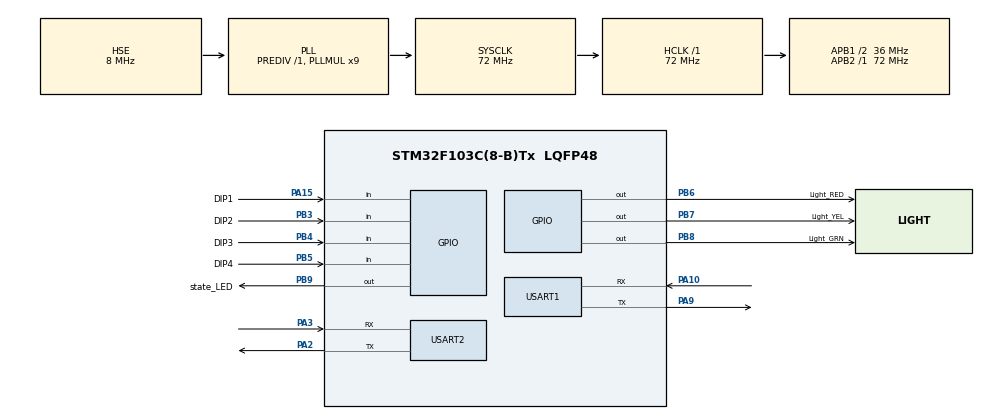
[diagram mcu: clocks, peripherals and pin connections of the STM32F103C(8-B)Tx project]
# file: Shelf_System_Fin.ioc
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FREERTOS.Tasks01=TaskStateLED,-3,128,StartTaskStateLED,Default,NULL,Dynamic,NULL,NULL;TaskInit,2,512,StartTaskInit,Default,NULL,Dynamic,NULL,NULL;TaskWiFi,0,1024,StartTaskWiFi,Default,NULL,Dynamic,NULL,NULL;TaskLightSingal,-2,512,StartTaskLightSingal,Default,NULL,Dynamic,NULL,NULL;TaskIPS,1,1024,StartTaskIPS,Default,NULL,Dynamic,NULL,NULL
FREERTOS.configTOTAL_HEAP_SIZE=15408
Mcu.Family=STM32F1
Mcu.Name=STM32F103C(8-B)Tx
Mcu.Package=LQFP48
NVIC.PriorityGroup=NVIC_PRIORITYGROUP_4
NVIC.TIM1_UP_IRQn=true\:15\:0\:false\:false\:true\:false\:false\:true\:true
NVIC.TimeBase=TIM1_UP_IRQn
NVIC.TimeBaseIP=TIM1
NVIC.USART1_IRQn=true\:5\:0\:false\:false\:true\:true\:true\:true\:true
NVIC.USART2_IRQn=true\:5\:0\:false\:false\:true\:true\:true\:true\:true
PA10.Mode=Asynchronous
PA10.Signal=USART1_RX
PA13.Mode=Serial_Wire
PA13.Signal=SYS_JTMS-SWDIO
PA14.Mode=Serial_Wire
PA14.Signal=SYS_JTCK-SWCLK
PA15.GPIO_Label=DIP1
PA15.Signal=GPIO_Input
PA2.Mode=Asynchronous
PA2.Signal=USART2_TX
PA3.Mode=Asynchronous
PA3.Signal=USART2_RX
PA9.Mode=Asynchronous
PA9.Signal=USART1_TX
PB3.GPIO_Label=DIP2
PB3.Signal=GPIO_Input
PB4.GPIO_Label=DIP3
PB4.Signal=GPIO_Input
PB5.GPIO_Label=DIP4
PB5.Signal=GPIO_Input
PB6.GPIO_Label=Light_RED
PB6.Signal=GPIO_Output
PB7.GPIO_Label=Light_YEL
PB7.Signal=GPIO_Output
PB8.GPIO_Label=Light_GRN
PB8.Signal=GPIO_Output
PB9.GPIO_Label=state_LED
PB9.Signal=GPIO_Output
PC14-OSC32_IN.Mode=LSE-External-Oscillator
PC14-OSC32_IN.Signal=RCC_OSC32_IN
PC15-OSC32_OUT.Mode=LSE-External-Oscillator
PC15-OSC32_OUT.Signal=RCC_OSC32_OUT
PD0-OSC_IN.Mode=HSE-External-Oscillator
PD0-OSC_IN.Signal=RCC_OSC_IN
PD1-OSC_OUT.Mode=HSE-External-Oscillator
PD1-OSC_OUT.Signal=RCC_OSC_OUT
ProjectManager.HeapSize=0x200
ProjectManager.StackSize=0x400
ProjectManager.TargetToolchain=MDK-ARM V5
RCC.AHBFreq_Value=72000000
RCC.APB1CLKDivider=RCC_HCLK_DIV2
RCC.APB1Freq_Value=36000000
RCC.APB1TimFreq_Value=72000000
RCC.APB2Freq_Value=72000000
RCC.APB2TimFreq_Value=72000000
RCC.HCLKFreq_Value=72000000
RCC.PLLMUL=RCC_PLL_MUL9
RCC.PLLSourceVirtual=RCC_PLLSOURCE_HSE
RCC.SYSCLKFreq_VALUE=72000000
RCC.SYSCLKSource=RCC_SYSCLKSOURCE_PLLCLK
RCC.USBFreq_Value=72000000
USART1.VirtualMode=VM_ASYNC
USART2.VirtualMode=VM_ASYNC
VP_FREERTOS_VS_CMSIS_V1.Mode=CMSIS_V1
VP_SYS_VS_tim1.Mode=TIM1
board=custom

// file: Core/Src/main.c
/* USER CODE BEGIN Header */
/**
  ******************************************************************************
  * @file           : main.c
  * @brief          : Main program body
  ******************************************************************************
  * @attention
  *
  * Copyright (c) 2024 STMicroelectronics.
  * All rights reserved.
  *
  * This software is licensed under terms that can be found in the LICENSE file
  * in the root directory of this software component.
  * If no LICENSE file comes with this software, it is provided AS-IS.
  *
  ******************************************************************************
  */
/* USER CODE END Header */
#include "main.h"
#include "cmsis_os.h"
#include "usart.h"
#include "gpio.h"

void SystemClock_Config(void);
void MX_FREERTOS_Init(void);

int main(void)
{

  /* MCU Configuration--------------------------------------------------------*/

  /* Reset of all peripherals, Initializes the Flash interface and the Systick. */
  HAL_Init();

  /* Configure the system clock */
  SystemClock_Config();

  /* Initialize all configured peripherals */
  MX_GPIO_Init();
  MX_USART1_UART_Init();
  MX_USART2_UART_Init();

  /* Call init function for freertos objects (in freertos.c) */
  MX_FREERTOS_Init();

  /* Start scheduler */
  osKernelStart();
  /* We should never get here as control is now taken by the scheduler */
  /* Infinite loop */
  while (1)
  {

  }
}

void SystemClock_Config(void)
{
  RCC_OscInitTypeDef RCC_OscInitStruct = {0};
  RCC_ClkInitTypeDef RCC_ClkInitStruct = {0};

  /** Initializes the RCC Oscillators according to the specified parameters
  * in the RCC_OscInitTypeDef structure.
  */
  RCC_OscInitStruct.OscillatorType = RCC_OSCILLATORTYPE_HSE;
  RCC_OscInitStruct.HSEState = RCC_HSE_ON;
  RCC_OscInitStruct.HSEPredivValue = RCC_HSE_PREDIV_DIV1;
  RCC_OscInitStruct.HSIState = RCC_HSI_ON;
  RCC_OscInitStruct.PLL.PLLState = RCC_PLL_ON;
  RCC_OscInitStruct.PLL.PLLSource = RCC_PLLSOURCE_HSE;
  RCC_OscInitStruct.PLL.PLLMUL = RCC_PLL_MUL9;
  if (HAL_RCC_OscConfig(&RCC_OscInitStruct) != HAL_OK)
  {
    Error_Handler();
  }

  /** Initializes the CPU, AHB and APB buses clocks
  */
  RCC_ClkInitStruct.ClockType = RCC_CLOCKTYPE_HCLK|RCC_CLOCKTYPE_SYSCLK
                              |RCC_CLOCKTYPE_PCLK1|RCC_CLOCKTYPE_PCLK2;
  RCC_ClkInitStruct.SYSCLKSource = RCC_SYSCLKSOURCE_PLLCLK;
  RCC_ClkInitStruct.AHBCLKDivider = RCC_SYSCLK_DIV1;
  RCC_ClkInitStruct.APB1CLKDivider = RCC_HCLK_DIV2;
  RCC_ClkInitStruct.APB2CLKDivider = RCC_HCLK_DIV1;

  if (HAL_RCC_ClockConfig(&RCC_ClkInitStruct, FLASH_LATENCY_2) != HAL_OK)
  {
    Error_Handler();
  }
}

void HAL_TIM_PeriodElapsedCallback(TIM_HandleTypeDef *htim)
{
  if (htim->Instance == TIM1) {
    HAL_IncTick();
  }
}

void Error_Handler(void)
{
  __disable_irq();
  while (1)
  {
  }
}

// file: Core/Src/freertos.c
/* USER CODE BEGIN Header */
/**
  ******************************************************************************
  * File Name          : freertos.c
  * Description        : Code for freertos applications
  ******************************************************************************
  * @attention
  *
  * Copyright (c) 2024 STMicroelectronics.
  * All rights reserved.
  *
  * This software is licensed under terms that can be found in the LICENSE file
  * in the root directory of this software component.
  * If no LICENSE file comes with this software, it is provided AS-IS.
  *
  ******************************************************************************
  */
/* USER CODE END Header */

#include "FreeRTOS.h"
#include "task.h"
#include "main.h"
#include "cmsis_os.h"

/* USER CODE BEGIN Includes */
#include "main.h"
#include <stdio.h>
#include <stdlib.h>
#include "usart.h"
#include "gpio.h"
#include "string.h"

/* USER CODE END Includes */

/* USER CODE BEGIN Variables */

/*------------------------------------------------------------------------------
UART1 : ESP-12s

		ESP-12s SET :
			Baud -> 115200
			Wi-Fi mode -> station mode
			IP mode -> DHCP
			Server IP -> 140.130.4.49:8764 (gjt)
								-> 192.168.1.31:8124 (jian)

UART2 : Barcode

		Barcode SET :
			Baud -> 115200

------------------------------------------------------------------------------*/

uint8_t data1;
uint8_t buffer1[128];
int data_len1 = 0;

char ESP_Temp[128] = "\0";
int ESP_LEN = 0;

/*==========Wi-Fi setting==========*/
char *ESP12_SetIPR = "AT+IPR=115200\r\n";
char *ESP12_CloseTCP = "AT+CIPCLOSE\r\n";
char *ESP12_CloseWiFi = "AT+CWQAP\r\n";
char *ESP12_WiFiMode = "AT+CWMODE=1\r\n";
char *ESP12_Connected = "AT+CWJAP=\"usb_lab_2.4G\",\"usblabwifi\"\r\n";
char *ESP12_Maskset = "AT+CIPSTA=\"192.168.1.22\",\"192.168.1.1\",\"255.255.255.0\"\r\n";
char *ESP12_DHCPSet = "AT+CWDHCP=1,1\r\n";
char *ESP12_TCPConnect = "AT+CIPSTART=\"TCP\",\"192.168.1.27\",8764\r\n";
char *ESP12_TransimitMode = "AT+CIPMODE=0\r\n";

char *ESP12_Transimit_first_connect = "AT+CIPSEND=9\r\n";
char *ESP12_Transimit_first_data = "02L";

char ESP12_marge_data[256];

/*------------------ Message for communication ------------------*/
char message_Start[5] = "03L:";
char message_Center[20];
char message_End[1] = "-";

char message_CRLF[2] = "\r\n";
int Shelf_light_flag = 0;

/*==========DIP SW setting==========*/
char DIP_message[7];

int DIP_Pin_state1 = 0;
int DIP_Pin_state2 = 0;
int DIP_Pin_state3 = 0;
int DIP_Pin_state4 = 0;

/* USER CODE END Variables */
osThreadId TaskStateLEDHandle;
osThreadId TaskInitHandle;
osThreadId TaskWiFiHandle;
osThreadId TaskLightSingalHandle;
osThreadId TaskIPSHandle;

/* USER CODE BEGIN FunctionPrototypes */
void DIP_read(void);

/* USER CODE END FunctionPrototypes */

void StartTaskStateLED(void const * argument);
void StartTaskInit(void const * argument);
void StartTaskWiFi(void const * argument);
void StartTaskLightSingal(void const * argument);
void StartTaskIPS(void const * argument);

void MX_FREERTOS_Init(void); /* (MISRA C 2004 rule 8.1) */

/* GetIdleTaskMemory prototype (linked to static allocation support) */
void vApplicationGetIdleTaskMemory( StaticTask_t **ppxIdleTaskTCBBuffer, StackType_t **ppxIdleTaskStackBuffer, uint32_t *pulIdleTaskStackSize );

/* USER CODE BEGIN GET_IDLE_TASK_MEMORY */
static StaticTask_t xIdleTaskTCBBuffer;
static StackType_t xIdleStack[configMINIMAL_STACK_SIZE];

void vApplicationGetIdleTaskMemory( StaticTask_t **ppxIdleTaskTCBBuffer, StackType_t **ppxIdleTaskStackBuffer, uint32_t *pulIdleTaskStackSize )
{
  *ppxIdleTaskTCBBuffer = &xIdleTaskTCBBuffer;
  *ppxIdleTaskStackBuffer = &xIdleStack[0];
  *pulIdleTaskStackSize = configMINIMAL_STACK_SIZE;
  /* place for user code */
}
/* USER CODE END GET_IDLE_TASK_MEMORY */

void MX_FREERTOS_Init(void) {

  /* Create the thread(s) */
  /* definition and creation of TaskStateLED */
  osThreadDef(TaskStateLED, StartTaskStateLED, osPriorityIdle, 0, 128);
  TaskStateLEDHandle = osThreadCreate(osThread(TaskStateLED), NULL);

  /* definition and creation of TaskInit */
  osThreadDef(TaskInit, StartTaskInit, osPriorityHigh, 0, 512);
  TaskInitHandle = osThreadCreate(osThread(TaskInit), NULL);

  /* definition and creation of TaskWiFi */
  osThreadDef(TaskWiFi, StartTaskWiFi, osPriorityNormal, 0, 1024);
  TaskWiFiHandle = osThreadCreate(osThread(TaskWiFi), NULL);

  /* definition and creation of TaskLightSingal */
  osThreadDef(TaskLightSingal, StartTaskLightSingal, osPriorityLow, 0, 512);
  TaskLightSingalHandle = osThreadCreate(osThread(TaskLightSingal), NULL);

  /* definition and creation of TaskIPS */
  osThreadDef(TaskIPS, StartTaskIPS, osPriorityAboveNormal, 0, 1024);
  TaskIPSHandle = osThreadCreate(osThread(TaskIPS), NULL);

  /* USER CODE BEGIN RTOS_THREADS */
  /* add threads, ... */
	vTaskSuspend(TaskWiFiHandle);
	vTaskSuspend(TaskIPSHandle);

  /* USER CODE END RTOS_THREADS */

}

void StartTaskStateLED(void const * argument)
{
  /* USER CODE BEGIN StartTaskStateLED */
  /* Infinite loop */
  for(;;)
  {
		HAL_GPIO_WritePin(state_LED_GPIO_Port, state_LED_Pin, GPIO_PIN_SET);
		osDelay(300);
		HAL_GPIO_WritePin(state_LED_GPIO_Port, state_LED_Pin, GPIO_PIN_RESET);
		osDelay(300);

  }
  /* USER CODE END StartTaskStateLED */
}

void StartTaskInit(void const * argument)
{
  /* USER CODE BEGIN StartTaskInit */
	DIP_read();

	HAL_UART_Transmit_IT(&huart1,(uint8_t*)ESP12_SetIPR,strlen(ESP12_SetIPR));
	osDelay(500);

	HAL_UART_Transmit_IT(&huart1,(uint8_t*)ESP12_CloseTCP,strlen(ESP12_CloseTCP));
	osDelay(500);

	HAL_UART_Transmit_IT(&huart1,(uint8_t*)ESP12_CloseWiFi,strlen(ESP12_CloseWiFi));
	osDelay(500);

	HAL_UART_Transmit_IT(&huart1,(uint8_t*)ESP12_WiFiMode,strlen(ESP12_WiFiMode));
	osDelay(500);

	HAL_UART_Transmit_IT(&huart1,(uint8_t*)ESP12_Connected,strlen(ESP12_Connected));
	osDelay(3000);

	HAL_UART_Transmit_IT(&huart1,(uint8_t*)ESP12_DHCPSet,strlen(ESP12_DHCPSet));
	osDelay(500);

	HAL_UART_Transmit_IT(&huart1,(uint8_t*)ESP12_TCPConnect,strlen(ESP12_TCPConnect));
	osDelay(3500);

	HAL_UART_Transmit_IT(&huart1,(uint8_t*)ESP12_TransimitMode,strlen(ESP12_TransimitMode));
	osDelay(500);

	HAL_UART_Transmit_IT(&huart1,(uint8_t*)ESP12_Transimit_first_connect,strlen(ESP12_Transimit_first_connect));
	osDelay(500);

	HAL_UART_Transmit_IT(&huart1, (uint8_t*)ESP12_Transimit_first_data, strlen(ESP12_Transimit_first_data));
	osDelay(100);

	HAL_UART_Transmit_IT(&huart1, (uint8_t*)DIP_message, strlen(DIP_message));
	osDelay(100);

	HAL_UART_Transmit_IT(&huart1, (uint8_t*)message_End, strlen(message_End));
	osDelay(100);

	HAL_UART_Receive_IT(&huart1, &data1, 1);

	vTaskDelete(NULL); // Remove hole Task!!

  /* Infinite loop */
  for(;;)
  {
    osDelay(1);
  }
  /* USER CODE END StartTaskInit */
}

void StartTaskWiFi(void const * argument)
{
  /* USER CODE BEGIN StartTaskWiFi */
  /* Infinite loop */
  for(;;)
  {
//		HAL_UART_Transmit_IT(&huart2, (uint8_t*)ESP_Temp, ESP_LEN);
//		osDelay(300);

		int count1 = 0, count2 = 0, mes_length = 0;

		char message[20] = "\0";

		if(strstr(ESP_Temp, "IPD"))
		{
			while(1) // find first $
			{
				if(ESP_Temp[count1++] == '$') break;
			}

			while(1) // find END
			{
				if(ESP_Temp[count2++] == '-') break;
			}

			for(int i = count1; i < count2 - 1; i++)
			{
					message[mes_length++] = ESP_Temp[i];
			}

			if(strstr(message, "REDON"))
			{
				HAL_UART_Transmit_IT(&huart2, (uint8_t*)"REDON", 5);
				osDelay(100);

				Shelf_light_flag = 1;
			}
			else if(strstr(message, "REDOF"))
			{
				HAL_UART_Transmit_IT(&huart2, (uint8_t*)"REDOF", 5);
				osDelay(100);

				Shelf_light_flag = 2;
			}
			else if(strstr(message, "YELON"))
			{
				HAL_UART_Transmit_IT(&huart2, (uint8_t*)"YELON", 5);
				osDelay(100);

				Shelf_light_flag = 3;
			}
			else if(strstr(message, "YELOF"))
			{
				HAL_UART_Transmit_IT(&huart2, (uint8_t*)"YELOF", 5);
				osDelay(100);

				Shelf_light_flag = 4;
			}
			else if(strstr(message, "GRNON"))
			{
				HAL_UART_Transmit_IT(&huart2, (uint8_t*)"GRNON", 5);
				osDelay(100);

				Shelf_light_flag = 5;
			}
			else if(strstr(message, "GRNOF"))
			{
				HAL_UART_Transmit_IT(&huart2, (uint8_t*)"GRNOF", 5);
				osDelay(100);

				Shelf_light_flag = 6;
			}
		}

		memset(ESP_Temp, '\0', ESP_LEN);
		ESP_LEN = 0;

		vTaskSuspend(TaskWiFiHandle);
  }
  /* USER CODE END StartTaskWiFi */
}

void StartTaskLightSingal(void const * argument)
{
  /* USER CODE BEGIN StartTaskLightSingal */
  /* Infinite loop */
  for(;;)
  {
		osDelay(200);

    switch(Shelf_light_flag)
		{
			case 1:
				HAL_GPIO_WritePin(Light_RED_GPIO_Port, Light_RED_Pin, GPIO_PIN_SET);
				break;

			case 2:
				HAL_GPIO_WritePin(Light_RED_GPIO_Port, Light_RED_Pin, GPIO_PIN_RESET);
				break;

			case 3:
				HAL_GPIO_WritePin(Light_YEL_GPIO_Port, Light_YEL_Pin, GPIO_PIN_SET);
				break;

			case 4:
				HAL_GPIO_WritePin(Light_YEL_GPIO_Port, Light_YEL_Pin, GPIO_PIN_RESET);
				break;

			case 5:
				HAL_GPIO_WritePin(Light_GRN_GPIO_Port, Light_GRN_Pin, GPIO_PIN_SET);
				break;

			case 6:
				HAL_GPIO_WritePin(Light_GRN_GPIO_Port, Light_GRN_Pin, GPIO_PIN_RESET);
				break;

		}
  }
  /* USER CODE END StartTaskLightSingal */
}

void StartTaskIPS(void const * argument)
{
  for(;;)
  {
    osDelay(1);
  }
}

/* USER CODE BEGIN Application */

void HAL_UART_RxCpltCallback(UART_HandleTypeDef *UartHandle)
{
	/*------------------------- USART1 -------------------------*/
	if(UartHandle->Instance == USART1)
	{
		buffer1[data_len1] = data1;
		data_len1++;

		if(buffer1[data_len1 - 1] == '\n')
		{
			memcpy(ESP_Temp, buffer1, data_len1 - 2);
			ESP_LEN = data_len1 - 2;

			memset(buffer1, '\0', data_len1);
			data_len1 = 0;

			xTaskResumeFromISR(TaskWiFiHandle);
		}

		HAL_UART_Receive_IT(&huart1, &data1, 1);
	}

	/*------------------------- USART2 -------------------------*/

}

void DIP_read(void)
{
	char DIP_temp[5];
	char temp[10] = {'\0'}; // storage DIP pin state

	if(HAL_GPIO_ReadPin(DIP1_GPIO_Port, DIP1_Pin) == GPIO_PIN_RESET)
	{
		DIP_Pin_state1 = 1;
	}
	else
	{
		DIP_Pin_state1 = 0;
	}

	if(HAL_GPIO_ReadPin(DIP2_GPIO_Port, DIP2_Pin) == GPIO_PIN_RESET)
	{
		DIP_Pin_state2 = 1;
	}
	else
	{
		DIP_Pin_state2 = 0;
	}

	if(HAL_GPIO_ReadPin(DIP3_GPIO_Port, DIP3_Pin) == GPIO_PIN_RESET)
	{
		DIP_Pin_state3 = 1;
	}
	else
	{
		DIP_Pin_state3 = 0;
	}

	if(HAL_GPIO_ReadPin(DIP4_GPIO_Port, DIP4_Pin) == GPIO_PIN_RESET)
	{
		DIP_Pin_state4 = 1;
	}
	else
	{
		DIP_Pin_state4 = 0;
	}

	sprintf(temp, "%d", DIP_Pin_state1);
	strncat(DIP_temp, temp, strlen(temp));
	memset(temp, 0, strlen(temp));

	sprintf(temp, "%d", DIP_Pin_state2);
	strncat(DIP_temp, temp, strlen(temp));
	memset(temp, 0, strlen(temp));

	sprintf(temp, "%d", DIP_Pin_state3);
	strncat(DIP_temp, temp, strlen(temp));
	memset(temp, 0, strlen(temp));

	sprintf(temp, "%d", DIP_Pin_state4);
	strncat(DIP_temp, temp, strlen(temp));
	memset(temp, 0, strlen(temp));

	int DIP_Length = 0;

	DIP_Length = strlen(DIP_temp);
	//All_length = 7 - DIP_Length;

	for(int i = 0; i < 5 - DIP_Length; i++)
	{
		DIP_message[i] = '0';
	}

	strncat(DIP_message, DIP_temp, strlen(DIP_temp));

	DIP_message[0] = 'l';

	//HAL_UART_Transmit_IT(&huart2, (uint8_t*)DIP_message, strlen(DIP_message));
	//osDelay(300);

	memset(temp, 0, strlen(temp));
	HAL_Delay(500);
}

/* USER CODE END Application */
